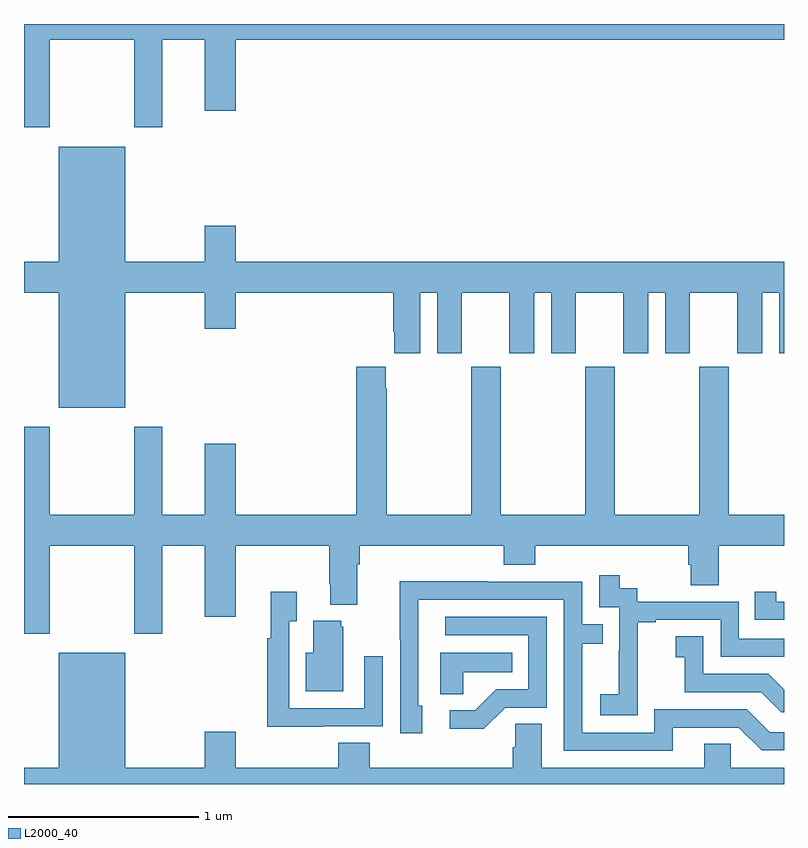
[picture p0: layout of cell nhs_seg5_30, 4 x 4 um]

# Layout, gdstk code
import gdstk
lib = gdstk.Library(unit=1e-6, precision=1e-09)
def P(c, l, *ps):  # polygons
    for p in ps: c.add(gdstk.Polygon(p, *l))
L2000_40 = (2000, 40)

nhs_seg5_30 = lib.new_cell('nhs_seg5_30')
P(nhs_seg5_30, L2000_40, [(111.135,900.716),(111.58,900.716),(111.58,900.255),(111.727,900.255),(111.727,900.716),(111.95,900.716),(111.95,900.342),(112.114,900.342),(112.114,900.716),(115,900.716),(115,900.799),(111,900.799),(111,900.255),(111.135,900.255)],
  [(111.532,899.384),(111.95,899.384),(111.95,899.196),(112.114,899.196),(112.114,899.384),(112.943,899.384),(112.943,899.179),(112.949,899.179),(112.949,899.067),(113.086,899.067),(113.086,899.384),(113.174,899.384),(113.174,899.067),(113.305,899.067),(113.305,899.384),(113.555,899.384),(113.555,899.067),(113.686,899.067),(113.686,899.384),(113.774,899.384),(113.774,899.067),(113.905,899.067),(113.905,899.384),(114.155,899.384),(114.155,899.067),(114.286,899.067),(114.286,899.384),(114.374,899.384),(114.374,899.067),(114.505,899.067),(114.505,899.384),(114.755,899.384),(114.755,899.067),(114.886,899.067),(114.886,899.384),(114.974,899.384),(114.974,899.067),(115,899.067),(115,899.548),(112.114,899.548),(112.114,899.737),(111.95,899.737),(111.95,899.548),(111.532,899.548),(111.532,900.154),(111.182,900.154),(111.182,899.548),(111,899.548),(111,899.384),(111.182,899.384),(111.182,898.778),(111.532,898.778)],
  [(111.135,898.052),(111.58,898.052),(111.58,897.591),(111.727,897.591),(111.727,898.052),(111.95,898.052),(111.95,897.678),(112.114,897.678),(112.114,898.052),(112.606,898.052),(112.606,897.85),(112.613,897.85),(112.613,897.743),(112.753,897.743),(112.753,897.956),(112.766,897.956),(112.766,898.052),(113.525,898.052),(113.525,897.953),(113.69,897.953),(113.69,898.052),(114.497,898.052),(114.497,897.954),(114.509,897.954),(114.509,897.844),(114.657,897.844),(114.657,898.052),(115,898.052),(115,898.216),(114.708,898.216),(114.708,898.996),(114.553,898.996),(114.553,898.216),(114.108,898.216),(114.108,898.996),(113.953,898.996),(113.953,898.216),(113.508,898.216),(113.508,898.996),(113.353,898.996),(113.353,898.216),(112.908,898.216),(112.908,898.883),(112.903,898.883),(112.903,898.996),(112.748,898.996),(112.748,898.216),(112.114,898.216),(112.114,898.591),(111.95,898.591),(111.95,898.216),(111.727,898.216),(111.727,898.678),(111.58,898.678),(111.58,898.216),(111.135,898.216),(111.135,898.678),(111,898.678),(111,897.591),(111.135,897.591)],
  [(114.231,897.367),(114.23,897.367),(114.23,897.651),(114.325,897.651),(114.325,897.663),(114.666,897.663),(114.666,897.468),(115,897.468),(115,897.564),(114.762,897.564),(114.762,897.759),(114.228,897.759),(114.228,897.828),(114.136,897.828),(114.136,897.898),(114.027,897.898),(114.027,897.729),(114.132,897.729),(114.132,897.5),(114.131,897.5),(114.131,897.271),(114.033,897.271),(114.033,897.161),(114.231,897.161)],
  [(114.415,897.096),(114.762,897.096),(114.882,896.976),(115,896.976),(115,897.072),(114.924,897.072),(114.804,897.192),(114.318,897.192),(114.318,897.069),(113.937,897.069),(113.937,897.538),(114.047,897.538),(114.047,897.639),(113.937,897.639),(113.937,897.864),(113.441,897.864),(113.441,897.866),(112.978,897.866),(112.978,897.559),(112.98,897.559),(112.98,897.066),(113.095,897.066),(113.095,897.21),(113.076,897.21),(113.076,897.768),(113.841,897.768),(113.841,896.973),(114.415,896.973)],
  [(115,897.759),(114.958,897.759),(114.958,897.811),(114.847,897.811),(114.847,897.663),(115,897.663)],
  [(112.571,897.102),(112.887,897.102),(112.887,897.472),(112.791,897.472),(112.791,897.198),(112.395,897.198),(112.395,897.655),(112.435,897.655),(112.435,897.811),(112.298,897.811),(112.298,897.566),(112.279,897.566),(112.279,897.101),(112.571,897.101)],
  [(113.532,897.201),(113.751,897.201),(113.751,897.678),(113.217,897.678),(113.217,897.582),(113.655,897.582),(113.655,897.297),(113.486,897.297),(113.375,897.186),(113.241,897.186),(113.241,897.089),(113.419,897.089)],
  [(112.681,897.627),(112.67,897.627),(112.67,897.658),(112.523,897.658),(112.523,897.49),(112.484,897.49),(112.484,897.287),(112.681,897.287)],
  [(115,897.296),(114.918,897.378),(114.576,897.378),(114.576,897.577),(114.429,897.577),(114.429,897.467),(114.478,897.467),(114.478,897.282),(114.881,897.282),(114.986,897.177),(115,897.177)],
  [(115,896.884),(114.72,896.884),(114.72,897.011),(114.581,897.011),(114.581,896.884),(113.725,896.884),(113.725,897.116),(113.586,897.116),(113.586,896.993),(113.573,896.993),(113.573,896.884),(112.82,896.884),(112.82,897.017),(112.655,897.017),(112.655,896.884),(112.114,896.884),(112.114,897.073),(111.95,897.073),(111.95,896.884),(111.532,896.884),(111.532,897.49),(111.182,897.49),(111.182,896.884),(111,896.884),(111,896.799),(115,896.799)],
  [(113.313,897.386),(113.57,897.386),(113.57,897.49),(113.192,897.49),(113.192,897.271),(113.313,897.271)])

lib.write_gds('nhs_seg5_30.gds')
